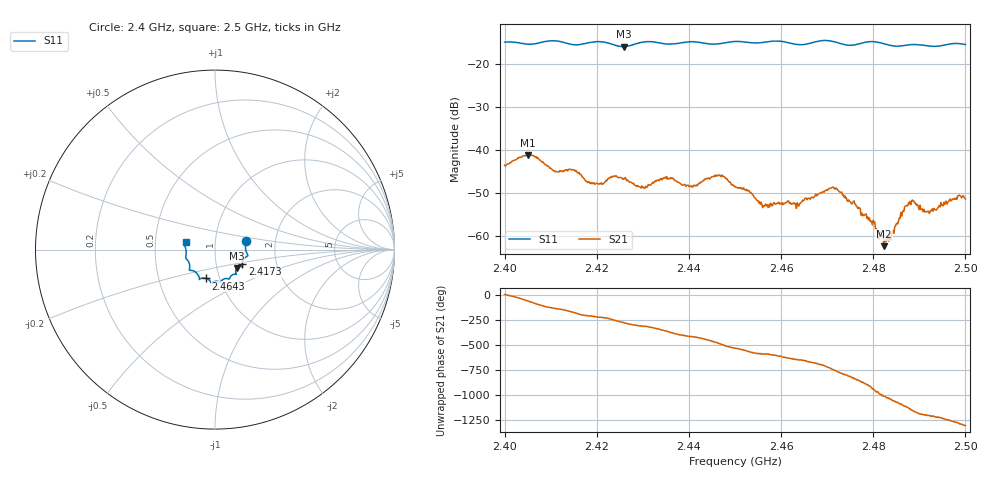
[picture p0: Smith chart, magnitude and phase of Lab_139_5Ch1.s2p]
# Hz S RI R 50
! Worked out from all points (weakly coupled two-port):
!   601 points, 2.4 GHz to 2.5 GHz, reference 50 ohm
!   highest |S21| = -41.18 dB at 2.405 GHz (marker M1); lowest = -62.5 dB at 2.4823 GHz (marker M2)
!   lowest |S11| = -15.9 dB at 2.4258 GHz (marker M3), VSWR 1.38, Z = 62.3 - j13.2 ohm
!   |S11| at or under -10 dB: start of sweep to end of sweep
!   S12 and S22 are empty: the file has one direction only
!   S11 on the Smith chart (normalised r, x): 2.4 GHz: 1.41, +0.15; 2.4173 GHz: 1.34, -0.23; 2.4643 GHz: 0.86, -0.28; 2.5 GHz: 0.72, +0.06
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2.4e9  0.1733 0.0498  0.00658 0.000739  0 0  0 0
2.405e9  0.17 0.0138  0.00485 -0.00726  0 0  0 0
2.411e9  0.1833 -0.0345  -0.00374 -0.00407  0 0  0 0
2.416667e9  0.1527 -0.0746  -0.0049 0.00139  0 0  0 0
2.417333e9  0.1523 -0.082  -0.00422 0.0016  0 0  0 0
2.420833e9  0.1546 -0.0965  -0.00305 0.00261  0 0  0 0
2.425833e9  0.1214 -0.1036  0.00033 0.00462  0 0  0 0
2.43e9  0.1181 -0.1364  0.00233 0.00288  0 0  0 0
2.433333e9  0.1128 -0.1367  0.00406 0.00181  0 0  0 0
2.4405e9  0.0791 -0.1643  0.0023 -0.00291  0 0  0 0
2.446667e9  0.0425 -0.1677  -0.00295 -0.00414  0 0  0 0
2.45e9  0.0299 -0.1809  -0.00366 -0.000771  0 0  0 0
2.456333e9  -0.00914 -0.1793  -0.00155 0.00156  0 0  0 0
2.464333e9  -0.0502 -0.1605  0.000621 0.00235  0 0  0 0
2.466667e9  -0.0763 -0.1599  0.00181 0.00213  0 0  0 0
2.471667e9  -0.0871 -0.1589  0.00302 -0.0019  0 0  0 0
2.479833e9  -0.1428 -0.1141  -0.00109 0.000777  0 0  0 0
2.482333e9  -0.1407 -0.0997  0.000259 0.000707  0 0  0 0
2.483333e9  -0.1408 -0.0897  0.000493 0.000707  0 0  0 0
2.488167e9  -0.161 -0.0498  0.000979 -0.00208  0 0  0 0
2.491833e9  -0.1609 -0.0266  -0.000987 -0.00164  0 0  0 0
2.5e9  -0.1636 0.042  -0.00203 0.00173  0 0  0 0
